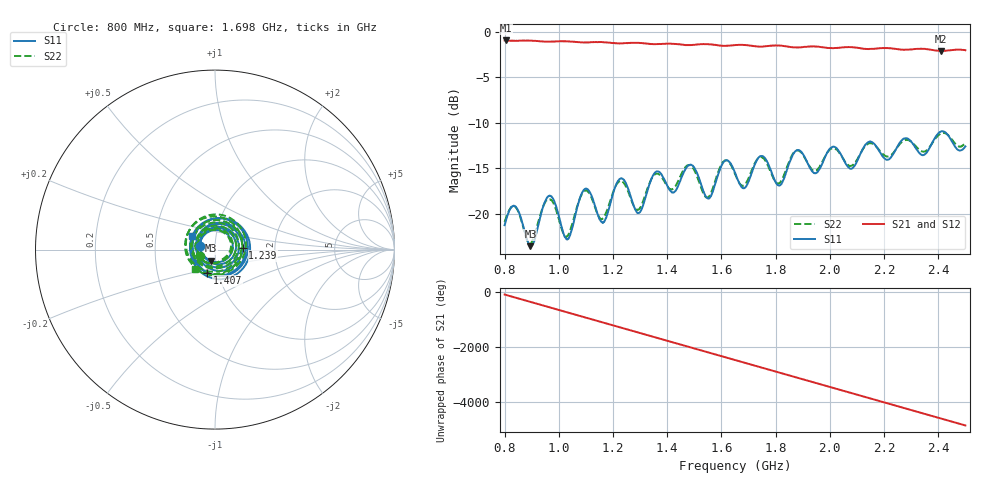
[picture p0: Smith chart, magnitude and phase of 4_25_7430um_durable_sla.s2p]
!Keysight Technologies N9950B: A.12.38
!Date: Tuesday, 25 April 2023 12:36:12
!Timezone: (UTC-06:00) Central Time (US & Canada)
!Model: N9950B
!Serial: MY61131330
!GPS Latitude:
!GPS Longitude:
!GPS TimeStamp: 0001-01-01 00:00:00Z
!GPS Seconds Since Last Read: 0
!CHECKSUM:0924481804
!Correction: S11(Rdy)S21(Rdy)S12(Rdy)S22(Rdy)
!S2P File: Measurements:S11,S21,S12,S22:
# Hz S DB R 50
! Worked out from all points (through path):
!   1001 points, 800 MHz to 2.5 GHz, reference 50 ohm
!   highest |S21| = -0.96 dB at 805.1 MHz (marker M1); lowest = -2.1 dB at 2.408 GHz (marker M2)
!   group delay of S21, straight-line fit = 7.78 ns
!   lowest |S11| = -23.6 dB at 895.2 MHz (marker M3), VSWR 1.14, Z = 47.2 - j5.82 ohm
!   |S11| at or under -10 dB: start of sweep to end of sweep
!   |S22| runs from -23.4 to -11.1 dB; largest |S21 - S12| = 0.0055
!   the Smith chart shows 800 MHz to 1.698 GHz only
!   S11 on the Smith chart (normalised r, x): 800 MHz: 0.84, +0.04; 1.239 GHz: 1.36, +0.03; 1.407 GHz: 0.89, -0.23; 1.698 GHz: 0.77, +0.12
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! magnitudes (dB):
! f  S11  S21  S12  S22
! 800 MHz  -21.3  -1.0  -1.0  -20.9
! 805.1 MHz  -20.7  -1.0  -1.0  -20.4
! 840.8 MHz  -19.2  -1.0  -1.0  -19.3
! 895.2 MHz  -23.6  -1.0  -1.0  -23.3
! 959.8 MHz  -18.1  -1.1  -1.1  -18.4
! 1.031 GHz  -22.8  -1.1  -1.1  -22.5
! 1.084 GHz  -17.8  -1.2  -1.2  -17.9
! 1.164 GHz  -21.0  -1.2  -1.2  -20.5
! 1.239 GHz  -16.2  -1.3  -1.3  -16.6
! 1.295 GHz  -19.9  -1.2  -1.2  -19.5
! 1.368 GHz  -15.4  -1.4  -1.4  -15.6
! 1.407 GHz  -17.3  -1.3  -1.3  -17.2
! 1.65 GHz  -15.5  -1.5  -1.5  -15.6
! 1.698 GHz  -16.6  -1.5  -1.5  -16.2
! 1.747 GHz  -13.7  -1.6  -1.6  -13.8
! 1.812 GHz  -16.9  -1.5  -1.5  -16.7
! 1.878 GHz  -13.0  -1.7  -1.7  -13.0
! 1.934 GHz  -15.3  -1.6  -1.6  -15.2
! 2.012 GHz  -12.6  -1.8  -1.8  -12.8
! 2.218 GHz  -14.0  -1.8  -1.8  -13.7
! 2.408 GHz  -11.0  -2.1  -2.1  -11.2
! 2.5 GHz  -12.6  -2.0  -2.0  -12.2
